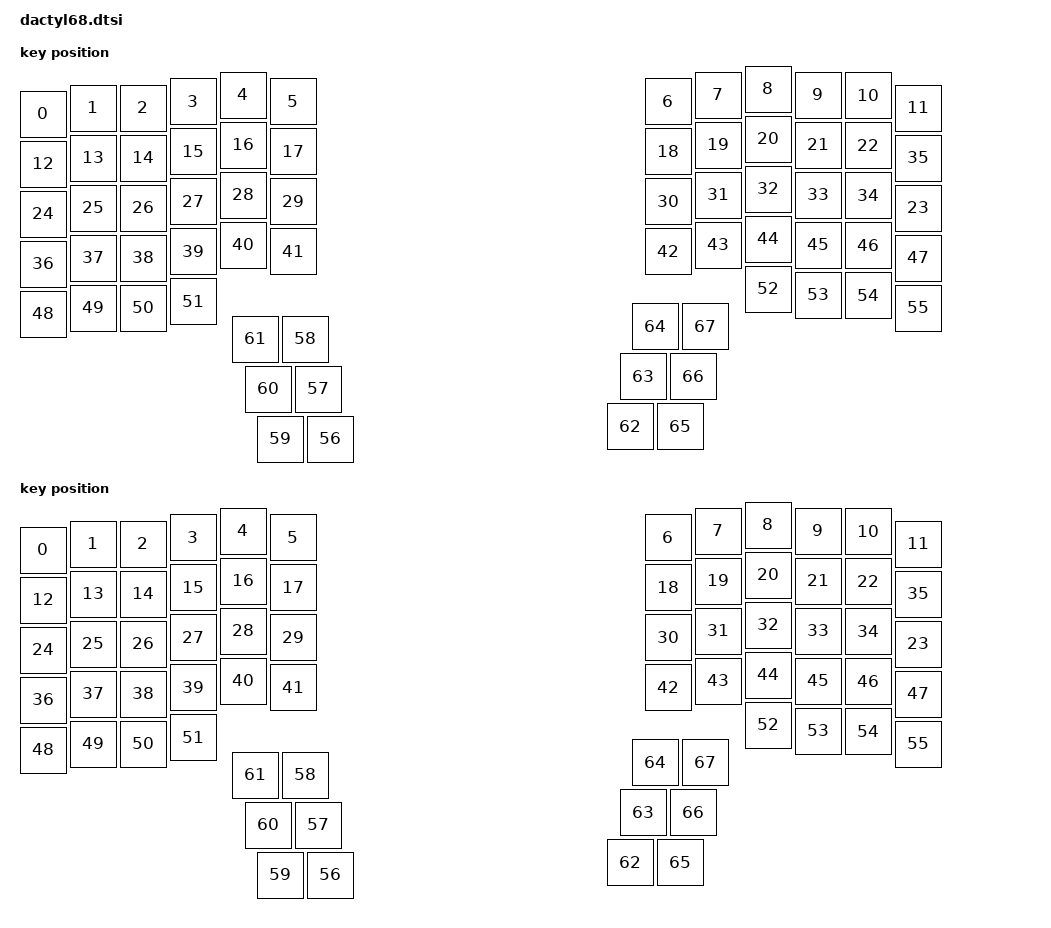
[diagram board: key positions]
#include <physical_layouts.dtsi>

/ {
    dactyl68_layout: dactyl68_layout {
        compatible = "zmk,physical-layout";
        display-name = "dactyl68";

        kscan = <&kscan0>;
        transform = <&matrix_transform0>;

        keys  //                     w   h    x    y     rot    rx    ry
            = <&key_physical_attrs 100 100    0   50       0     0     0>
            , <&key_physical_attrs 100 100  100   38       0     0     0>
            , <&key_physical_attrs 100 100  200   38       0     0     0>
            , <&key_physical_attrs 100 100  300   25       0     0     0>
            , <&key_physical_attrs 100 100  400   12       0     0     0>
            , <&key_physical_attrs 100 100  500   25       0     0     0>
            , <&key_physical_attrs 100 100 1250   25       0     0     0>
            , <&key_physical_attrs 100 100 1350   12       0     0     0>
            , <&key_physical_attrs 100 100 1450    0       0     0     0>
            , <&key_physical_attrs 100 100 1550   12       0     0     0>
            , <&key_physical_attrs 100 100 1650   13       0     0     0>
            , <&key_physical_attrs 100 100 1750   38       0     0     0>
            , <&key_physical_attrs 100 100    0  150       0     0     0>
            , <&key_physical_attrs 100 100  100  138       0     0     0>
            , <&key_physical_attrs 100 100  200  138       0     0     0>
            , <&key_physical_attrs 100 100  300  125       0     0     0>
            , <&key_physical_attrs 100 100  400  112       0     0     0>
            , <&key_physical_attrs 100 100  500  125       0     0     0>
            , <&key_physical_attrs 100 100 1250  125       0     0     0>
            , <&key_physical_attrs 100 100 1350  112       0     0     0>
            , <&key_physical_attrs 100 100 1450  100       0     0     0>
            , <&key_physical_attrs 100 100 1550  112       0     0     0>
            , <&key_physical_attrs 100 100 1650  113       0     0     0>
            , <&key_physical_attrs 100 100 1750  238       0     0     0>
            , <&key_physical_attrs 100 100    0  250       0     0     0>
            , <&key_physical_attrs 100 100  100  238       0     0     0>
            , <&key_physical_attrs 100 100  200  238       0     0     0>
            , <&key_physical_attrs 100 100  300  225       0     0     0>
            , <&key_physical_attrs 100 100  400  212       0     0     0>
            , <&key_physical_attrs 100 100  500  225       0     0     0>
            , <&key_physical_attrs 100 100 1250  225       0     0     0>
            , <&key_physical_attrs 100 100 1350  212       0     0     0>
            , <&key_physical_attrs 100 100 1450  200       0     0     0>
            , <&key_physical_attrs 100 100 1550  212       0     0     0>
            , <&key_physical_attrs 100 100 1650  213       0     0     0>
            , <&key_physical_attrs 100 100 1750  138       0     0     0>
            , <&key_physical_attrs 100 100    0  350       0     0     0>
            , <&key_physical_attrs 100 100  100  338       0     0     0>
            , <&key_physical_attrs 100 100  200  338       0     0     0>
            , <&key_physical_attrs 100 100  300  325       0     0     0>
            , <&key_physical_attrs 100 100  400  312       0     0     0>
            , <&key_physical_attrs 100 100  500  325       0     0     0>
            , <&key_physical_attrs 100 100 1250  325       0     0     0>
            , <&key_physical_attrs 100 100 1350  312       0     0     0>
            , <&key_physical_attrs 100 100 1450  300       0     0     0>
            , <&key_physical_attrs 100 100 1550  312       0     0     0>
            , <&key_physical_attrs 100 100 1650  313       0     0     0>
            , <&key_physical_attrs 100 100 1750  338       0     0     0>
            , <&key_physical_attrs 100 100    0  450       0     0     0>
            , <&key_physical_attrs 100 100  100  438       0     0     0>
            , <&key_physical_attrs 100 100  200  438       0     0     0>
            , <&key_physical_attrs 100 100  300  425       0     0     0>
            , <&key_physical_attrs 100 100 1450  400       0     0     0>
            , <&key_physical_attrs 100 100 1550  412       0     0     0>
            , <&key_physical_attrs 100 100 1650  413       0     0     0>
            , <&key_physical_attrs 100 100 1750  438       0     0     0>
            , <&key_physical_attrs 100 100  575  700       0     0     0>
            , <&key_physical_attrs 100 100  550  600       0     0     0>
            , <&key_physical_attrs 100 100  525  500       0     0     0>
            , <&key_physical_attrs 100 100  475  700       0     0     0>
            , <&key_physical_attrs 100 100  450  600       0     0     0>
            , <&key_physical_attrs 100 100  425  500       0     0     0>
            , <&key_physical_attrs 100 100 1175  675       0     0     0>
            , <&key_physical_attrs 100 100 1200  575       0     0     0>
            , <&key_physical_attrs 100 100 1225  475       0     0     0>
            , <&key_physical_attrs 100 100 1275  675       0     0     0>
            , <&key_physical_attrs 100 100 1300  575       0     0     0>
            , <&key_physical_attrs 100 100 1325  475       0     0     0>
            ;
    };


};
/ {
    josefadamcik_dactyl68_layout: josefadamcik_dactyl68_layout{
        compatible = "zmk,physical-layout";
        display-name = "dactyl68";

        kscan = <&kscan0>;
        transform = <&matrix_transform0>;

        keys  //                     w   h    x    y     rot    rx    ry
            = <&key_physical_attrs 100 100    0   50       0     0     0>
            , <&key_physical_attrs 100 100  100   38       0     0     0>
            , <&key_physical_attrs 100 100  200   38       0     0     0>
            , <&key_physical_attrs 100 100  300   25       0     0     0>
            , <&key_physical_attrs 100 100  400   12       0     0     0>
            , <&key_physical_attrs 100 100  500   25       0     0     0>
            , <&key_physical_attrs 100 100 1250   25       0     0     0>
            , <&key_physical_attrs 100 100 1350   12       0     0     0>
            , <&key_physical_attrs 100 100 1450    0       0     0     0>
            , <&key_physical_attrs 100 100 1550   12       0     0     0>
            , <&key_physical_attrs 100 100 1650   13       0     0     0>
            , <&key_physical_attrs 100 100 1750   38       0     0     0>
            , <&key_physical_attrs 100 100    0  150       0     0     0>
            , <&key_physical_attrs 100 100  100  138       0     0     0>
            , <&key_physical_attrs 100 100  200  138       0     0     0>
            , <&key_physical_attrs 100 100  300  125       0     0     0>
            , <&key_physical_attrs 100 100  400  112       0     0     0>
            , <&key_physical_attrs 100 100  500  125       0     0     0>
            , <&key_physical_attrs 100 100 1250  125       0     0     0>
            , <&key_physical_attrs 100 100 1350  112       0     0     0>
            , <&key_physical_attrs 100 100 1450  100       0     0     0>
            , <&key_physical_attrs 100 100 1550  112       0     0     0>
            , <&key_physical_attrs 100 100 1650  113       0     0     0>
            , <&key_physical_attrs 100 100 1750  238       0     0     0>
            , <&key_physical_attrs 100 100    0  250       0     0     0>
            , <&key_physical_attrs 100 100  100  238       0     0     0>
            , <&key_physical_attrs 100 100  200  238       0     0     0>
            , <&key_physical_attrs 100 100  300  225       0     0     0>
            , <&key_physical_attrs 100 100  400  212       0     0     0>
            , <&key_physical_attrs 100 100  500  225       0     0     0>
            , <&key_physical_attrs 100 100 1250  225       0     0     0>
            , <&key_physical_attrs 100 100 1350  212       0     0     0>
            , <&key_physical_attrs 100 100 1450  200       0     0     0>
            , <&key_physical_attrs 100 100 1550  212       0     0     0>
            , <&key_physical_attrs 100 100 1650  213       0     0     0>
            , <&key_physical_attrs 100 100 1750  138       0     0     0>
            , <&key_physical_attrs 100 100    0  350       0     0     0>
            , <&key_physical_attrs 100 100  100  338       0     0     0>
            , <&key_physical_attrs 100 100  200  338       0     0     0>
            , <&key_physical_attrs 100 100  300  325       0     0     0>
            , <&key_physical_attrs 100 100  400  312       0     0     0>
            , <&key_physical_attrs 100 100  500  325       0     0     0>
            , <&key_physical_attrs 100 100 1250  325       0     0     0>
            , <&key_physical_attrs 100 100 1350  312       0     0     0>
            , <&key_physical_attrs 100 100 1450  300       0     0     0>
            , <&key_physical_attrs 100 100 1550  312       0     0     0>
            , <&key_physical_attrs 100 100 1650  313       0     0     0>
            , <&key_physical_attrs 100 100 1750  338       0     0     0>
            , <&key_physical_attrs 100 100    0  450       0     0     0>
            , <&key_physical_attrs 100 100  100  438       0     0     0>
            , <&key_physical_attrs 100 100  200  438       0     0     0>
            , <&key_physical_attrs 100 100  300  425       0     0     0>
            , <&key_physical_attrs 100 100 1450  400       0     0     0>
            , <&key_physical_attrs 100 100 1550  412       0     0     0>
            , <&key_physical_attrs 100 100 1650  413       0     0     0>
            , <&key_physical_attrs 100 100 1750  438       0     0     0>
            , <&key_physical_attrs 100 100  575  700       0     0     0>
            , <&key_physical_attrs 100 100  550  600       0     0     0>
            , <&key_physical_attrs 100 100  525  500       0     0     0>
            , <&key_physical_attrs 100 100  475  700       0     0     0>
            , <&key_physical_attrs 100 100  450  600       0     0     0>
            , <&key_physical_attrs 100 100  425  500       0     0     0>
            , <&key_physical_attrs 100 100 1175  675       0     0     0>
            , <&key_physical_attrs 100 100 1200  575       0     0     0>
            , <&key_physical_attrs 100 100 1225  475       0     0     0>
            , <&key_physical_attrs 100 100 1275  675       0     0     0>
            , <&key_physical_attrs 100 100 1300  575       0     0     0>
            , <&key_physical_attrs 100 100 1325  475       0     0     0>
            ;
    };


};
